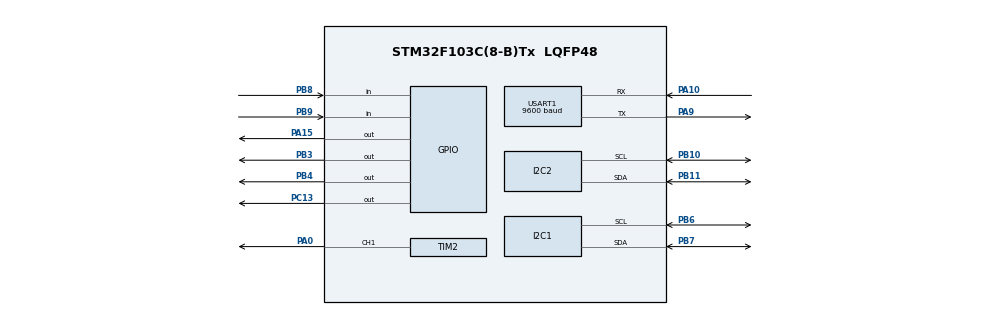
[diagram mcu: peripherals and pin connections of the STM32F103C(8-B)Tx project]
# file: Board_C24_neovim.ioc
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Mcu.Family=STM32F1
Mcu.Name=STM32F103C(8-B)Tx
Mcu.Package=LQFP48
NVIC.PriorityGroup=NVIC_PRIORITYGROUP_4
PA0-WKUP.Signal=S_TIM2_CH1_ETR
PA10.Mode=Asynchronous
PA10.Signal=USART1_RX
PA13.Mode=Serial_Wire
PA13.Signal=SYS_JTMS-SWDIO
PA14.Mode=Serial_Wire
PA14.Signal=SYS_JTCK-SWCLK
PA15.Signal=GPIO_Output
PA9.Mode=Asynchronous
PA9.Signal=USART1_TX
PB10.Mode=I2C
PB10.Signal=I2C2_SCL
PB11.Mode=I2C
PB11.Signal=I2C2_SDA
PB3.Signal=GPIO_Output
PB4.Signal=GPIO_Output
PB6.Mode=I2C
PB6.Signal=I2C1_SCL
PB7.Mode=I2C
PB7.Signal=I2C1_SDA
PB8.Signal=GPIO_Input
PB9.Signal=GPIO_Input
PC13-TAMPER-RTC.Signal=GPIO_Output
PD0-OSC_IN.Mode=HSE-External-Oscillator
PD0-OSC_IN.Signal=RCC_OSC_IN
PD1-OSC_OUT.Mode=HSE-External-Oscillator
PD1-OSC_OUT.Signal=RCC_OSC_OUT
ProjectManager.HeapSize=0x200
ProjectManager.StackSize=0x400
ProjectManager.TargetToolchain=Makefile
RCC.APB1Freq_Value=8000000
RCC.APB2Freq_Value=8000000
SH.S_TIM2_CH1_ETR.0=TIM2_CH1,PWM Generation1 CH1
TIM2.AutoReloadPreload=TIM_AUTORELOAD_PRELOAD_ENABLE
TIM2.Channel-PWM\ Generation1\ CH1=TIM_CHANNEL_1
TIM2.Period=999
TIM2.Prescaler=7
USART1.BaudRate=9600
USART1.VirtualMode=VM_ASYNC
VP_TIM2_VS_ClockSourceINT.Mode=Internal
board=custom

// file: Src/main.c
/* USER CODE BEGIN Header */
/**
  ******************************************************************************
  * @file           : main.c
  * @brief          : Main program body
  ******************************************************************************
  * @attention
  *
  * Copyright (c) 2024 STMicroelectronics.
  * All rights reserved.
  *
  * This software is licensed under terms that can be found in the LICENSE file
  * in the root directory of this software component.
  * If no LICENSE file comes with this software, it is provided AS-IS.
  *
  ******************************************************************************
  */
/* USER CODE END Header */
#include "main.h"
#include "i2c.h"
#include "stm32f1xx_hal_tim.h"
#include "tim.h"
#include "usart.h"
#include "gpio.h"

/* USER CODE BEGIN Includes */
#include<stdio.h>
#include<stdint.h>
#include<string.h>
#include "ds1307_for_stm32_hal.h"
#include "mpu6050.h"
#include "test.h"
/* USER CODE END Includes */

void SystemClock_Config(void);

int main(void)
{

  /* MCU Configuration--------------------------------------------------------*/

  /* Reset of all peripherals, Initializes the Flash interface and the Systick. */
  HAL_Init();

  /* USER CODE BEGIN Init */
    /*DS1307_Init(&hi2c1);*/
  /* To test leap year correction. */

  /* USER CODE END Init */

  /* Configure the system clock */
  SystemClock_Config();

  /* Initialize all configured peripherals */
  MX_GPIO_Init();
  MX_USART1_UART_Init();
  MX_I2C1_Init();
  MX_I2C2_Init();
  MX_TIM2_Init();
  /* USER CODE BEGIN 2 */
  /*while (MPU6050_Init(&hi2c2) == 1);*/ //Uncomment when use MPU6050
  test_init();
	  /* USER CODE END 2 */

  /* Infinite loop */
  while (1)
  {

    /* USER CODE BEGIN 3 */
      buzzer_test();
      HAL_Delay(100);
      led_test();
      HAL_Delay(100);
      button_test();
      HAL_Delay(100);
      ds1307_test();
      HAL_Delay(100);
      mpu6050_test();
      HAL_Delay(100);
  }
  /* USER CODE END 3 */
}

void SystemClock_Config(void)
{
  RCC_OscInitTypeDef RCC_OscInitStruct = {0};
  RCC_ClkInitTypeDef RCC_ClkInitStruct = {0};

  /** Initializes the RCC Oscillators according to the specified parameters
  * in the RCC_OscInitTypeDef structure.
  */
  RCC_OscInitStruct.OscillatorType = RCC_OSCILLATORTYPE_HSI;
  RCC_OscInitStruct.HSIState = RCC_HSI_ON;
  RCC_OscInitStruct.HSICalibrationValue = RCC_HSICALIBRATION_DEFAULT;
  RCC_OscInitStruct.PLL.PLLState = RCC_PLL_NONE;
  if (HAL_RCC_OscConfig(&RCC_OscInitStruct) != HAL_OK)
  {
    Error_Handler();
  }

  /** Initializes the CPU, AHB and APB buses clocks
  */
  RCC_ClkInitStruct.ClockType = RCC_CLOCKTYPE_HCLK|RCC_CLOCKTYPE_SYSCLK
                              |RCC_CLOCKTYPE_PCLK1|RCC_CLOCKTYPE_PCLK2;
  RCC_ClkInitStruct.SYSCLKSource = RCC_SYSCLKSOURCE_HSI;
  RCC_ClkInitStruct.AHBCLKDivider = RCC_SYSCLK_DIV1;
  RCC_ClkInitStruct.APB1CLKDivider = RCC_HCLK_DIV1;
  RCC_ClkInitStruct.APB2CLKDivider = RCC_HCLK_DIV1;

  if (HAL_RCC_ClockConfig(&RCC_ClkInitStruct, FLASH_LATENCY_0) != HAL_OK)
  {
    Error_Handler();
  }
}

void Error_Handler(void)
{
  __disable_irq();
  while (1)
  {
  }
}
